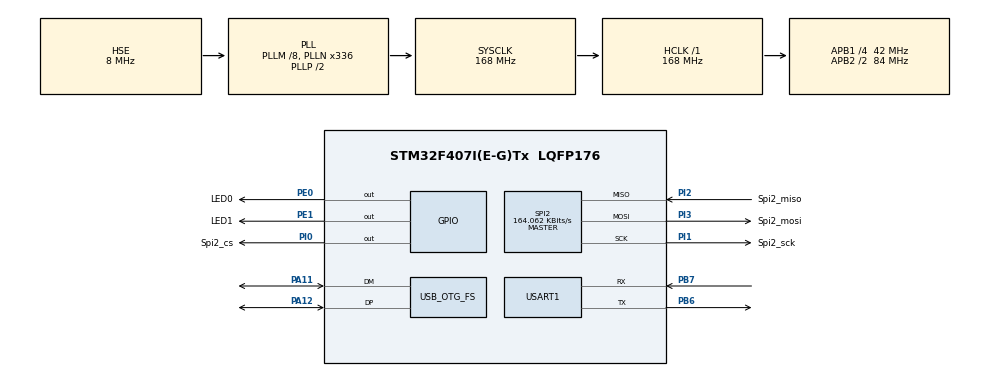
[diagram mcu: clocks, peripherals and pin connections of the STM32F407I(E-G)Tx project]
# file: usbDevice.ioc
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Mcu.Family=STM32F4
Mcu.Name=STM32F407I(E-G)Tx
Mcu.Package=LQFP176
NVIC.PriorityGroup=NVIC_PRIORITYGROUP_4
PA11.Mode=Device_Only
PA11.Signal=USB_OTG_FS_DM
PA12.Mode=Device_Only
PA12.Signal=USB_OTG_FS_DP
PA13.Mode=Serial_Wire
PA13.Signal=SYS_JTMS-SWDIO
PA14.Mode=Serial_Wire
PA14.Signal=SYS_JTCK-SWCLK
PB6.Mode=Asynchronous
PB6.Signal=USART1_TX
PB7.Mode=Asynchronous
PB7.Signal=USART1_RX
PE0.GPIO_Label=LED0
PE0.GPIO_Speed=GPIO_SPEED_FREQ_HIGH
PE0.PinState=GPIO_PIN_SET
PE0.Signal=GPIO_Output
PE1.GPIO_Label=LED1
PE1.GPIO_Speed=GPIO_SPEED_FREQ_HIGH
PE1.PinState=GPIO_PIN_SET
PE1.Signal=GPIO_Output
PH0-OSC_IN.Mode=HSE-External-Oscillator
PH0-OSC_IN.Signal=RCC_OSC_IN
PH1-OSC_OUT.Mode=HSE-External-Oscillator
PH1-OSC_OUT.Signal=RCC_OSC_OUT
PI0.GPIO_Label=Spi2_cs
PI0.GPIO_PuPd=GPIO_PULLUP
PI0.GPIO_Speed=GPIO_SPEED_FREQ_HIGH
PI0.PinState=GPIO_PIN_SET
PI0.Signal=GPIO_Output
PI1.GPIO_Label=Spi2_sck
PI1.GPIO_PuPd=GPIO_PULLUP
PI1.GPIO_Speed=GPIO_SPEED_FREQ_VERY_HIGH
PI1.Mode=Full_Duplex_Master
PI1.Signal=SPI2_SCK
PI2.GPIO_Label=Spi2_miso
PI2.GPIO_PuPd=GPIO_PULLUP
PI2.Mode=Full_Duplex_Master
PI2.Signal=SPI2_MISO
PI3.GPIO_Label=Spi2_mosi
PI3.GPIO_PuPd=GPIO_PULLUP
PI3.Mode=Full_Duplex_Master
PI3.Signal=SPI2_MOSI
ProjectManager.HeapSize=0x200
ProjectManager.StackSize=0x400
ProjectManager.TargetToolchain=MDK-ARM V5
RCC.48MHZClocksFreq_Value=48000000
RCC.AHBFreq_Value=168000000
RCC.APB1CLKDivider=RCC_HCLK_DIV4
RCC.APB1Freq_Value=42000000
RCC.APB1TimFreq_Value=84000000
RCC.APB2CLKDivider=RCC_HCLK_DIV2
RCC.APB2Freq_Value=84000000
RCC.APB2TimFreq_Value=168000000
RCC.CortexFreq_Value=168000000
RCC.HCLKFreq_Value=168000000
RCC.HSE_VALUE=8000000
RCC.HSI_VALUE=16000000
RCC.LSE_VALUE=32768
RCC.PLLM=8
RCC.PLLN=336
RCC.PLLQ=7
RCC.SYSCLKFreq_VALUE=168000000
RCC.SYSCLKSource=RCC_SYSCLKSOURCE_PLLCLK
RCC.VCOOutputFreq_Value=336000000
SPI2.BaudRatePrescaler=SPI_BAUDRATEPRESCALER_256
SPI2.CLKPhase=SPI_PHASE_2EDGE
SPI2.CLKPolarity=SPI_POLARITY_HIGH
SPI2.CalculateBaudRate=164.062 KBits/s
SPI2.Direction=SPI_DIRECTION_2LINES
SPI2.Mode=SPI_MODE_MASTER
SPI2.VirtualType=VM_MASTER
USART1.VirtualMode=VM_ASYNC
USB_OTG_FS.VirtualMode=Device_Only
board=usbDevice

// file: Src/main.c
/**
  ******************************************************************************
  * @file           : main.c
  * @brief          : Main program body
  ******************************************************************************
  ** This notice applies to any and all portions of this file
  * that are not between comment pairs USER CODE BEGIN and
  * USER CODE END. Other portions of this file, whether
  * inserted by the user or by software development tools
  * are owned by their respective copyright owners.
  *
  * COPYRIGHT(c) 2024 STMicroelectronics
  *
  * Redistribution and use in source and binary forms, with or without modification,
  * are permitted provided that the following conditions are met:
  *   1. Redistributions of source code must retain the above copyright notice,
  *      this list of conditions and the following disclaimer.
  *   2. Redistributions in binary form must reproduce the above copyright notice,
  *      this list of conditions and the following disclaimer in the documentation
  *      and/or other materials provided with the distribution.
  *   3. Neither the name of STMicroelectronics nor the names of its contributors
  *      may be used to endorse or promote products derived from this software
  *      without specific prior written permission.
  *
  * THIS SOFTWARE IS PROVIDED BY THE COPYRIGHT HOLDERS AND CONTRIBUTORS "AS IS"
  * AND ANY EXPRESS OR IMPLIED WARRANTIES, INCLUDING, BUT NOT LIMITED TO, THE
  * IMPLIED WARRANTIES OF MERCHANTABILITY AND FITNESS FOR A PARTICULAR PURPOSE ARE
  * DISCLAIMED. IN NO EVENT SHALL THE COPYRIGHT HOLDER OR CONTRIBUTORS BE LIABLE
  * FOR ANY DIRECT, INDIRECT, INCIDENTAL, SPECIAL, EXEMPLARY, OR CONSEQUENTIAL
  * DAMAGES (INCLUDING, BUT NOT LIMITED TO, PROCUREMENT OF SUBSTITUTE GOODS OR
  * SERVICES; LOSS OF USE, DATA, OR PROFITS; OR BUSINESS INTERRUPTION) HOWEVER
  * CAUSED AND ON ANY THEORY OF LIABILITY, WHETHER IN CONTRACT, STRICT LIABILITY,
  * OR TORT (INCLUDING NEGLIGENCE OR OTHERWISE) ARISING IN ANY WAY OUT OF THE USE
  * OF THIS SOFTWARE, EVEN IF ADVISED OF THE POSSIBILITY OF SUCH DAMAGE.
  *
  ******************************************************************************
  */
#include "main.h"
#include "stm32f4xx_hal.h"
#include "spi.h"
#include "usart.h"
#include "usb_otg.h"
#include "gpio.h"

/* USER CODE BEGIN Includes */
#include "norflash.h"  //norflash_init norflash_read_id
#include "malloc.h"  //my_mem_init
#include "usart.h"  //printf fputc
#include "usbd_core.h"  //USBD_Init USBD_RegisterClass USBD_MSC_RegisterStorage USBD_Start
#include "usbd_desc.h"  //MSC_Desc (FS_Desc)
#include "usbd_msc.h"  //USBD_MSC
#include "usbd_storage.h"  //USBD_DISK_fops  (USBD_Storage_Interface_fops_FS)
#include "delay.h"
/* USER CODE END Includes */

/* USER CODE BEGIN PV */
/* Private variables ---------------------------------------------------------*/
uint16_t id;  //norflash id
USBD_HandleTypeDef USBD_Device;             /* USB Device处理结构体 */
extern volatile uint8_t g_usb_state_reg;    /* USB状态 */
extern volatile uint8_t g_device_state;     /* USB连接 情况 */
uint8_t usb_sta;  //usb状态
uint8_t offline_cnt = 0;
uint8_t tct = 0;
uint8_t device_sta;  //设备状态
/* USER CODE END PV */

void SystemClock_Config(void);

/* USER CODE BEGIN PFP */
/* Private function prototypes -----------------------------------------------*/

/* USER CODE END PFP */

int main(void)
{

  /* MCU Configuration----------------------------------------------------------*/

  /* Reset of all peripherals, Initializes the Flash interface and the Systick. */
  HAL_Init();

  /* Configure the system clock */
  SystemClock_Config();

  /* Initialize all configured peripherals */
  MX_GPIO_Init();
  MX_USART1_UART_Init();
  MX_USB_OTG_FS_PCD_Init();
  MX_SPI2_Init();
  /* USER CODE BEGIN 2 */
	delay_init(168);                    /* 延时初始化 */
	norflash_init();                    /* 初始化norflash */
  //my_mem_init(SRAMIN);                /* 初始化内部SRAM内存池 */
  //my_mem_init(SRAMCCM);               /* 初始化内部SRAMCCM内存池 */
	id = norflash_read_id();

	if ((id == 0) || (id == 0xFFFF))
	{
			printf("NorFlash Error!\n");          /* 检测NorFlash错误 */
	}
	else   /* SPI FLASH 正常 */
	{
			printf("norflash id is %d\n", id);
			printf("SPI FLASH Size:12MB\n");
	}
	printf("USB Connecting...\n");            /* 提示正在建立连接 */

	USBD_Init(&USBD_Device, &FS_Desc, DEVICE_FS);       /* 初始化USB */
	USBD_RegisterClass(&USBD_Device, &USBD_MSC);        /* 添加类 */
	USBD_MSC_RegisterStorage(&USBD_Device, &USBD_DISK_fops);    /* 为MSC类添加回调函数 */
	USBD_Start(&USBD_Device);                           /* 开启USB */
	//delay_ms(1800);
  /* USER CODE END 2 */

  /* Infinite loop */
  /* USER CODE BEGIN WHILE */
  while (1)
  {
		delay_ms(1);

		if (usb_sta != g_usb_state_reg)                 /* 状态改变了 */
		{
				if (g_usb_state_reg & 0x01)                 /* 正在写 */
				{
						HAL_GPIO_WritePin(LED1_GPIO_Port, LED1_Pin, GPIO_PIN_RESET);
						printf("USB Writing...\n");   /* 提示USB正在写入数据 */
				}

				if (g_usb_state_reg & 0x02)                 /* 正在读 */
				{
						HAL_GPIO_WritePin(LED1_GPIO_Port, LED1_Pin, GPIO_PIN_RESET);
						printf("USB Reading...\n");   /* 提示USB正在读出数据 */
				}

				if (g_usb_state_reg & 0x04)
				{
						printf("USB Write Err \n");   /* 提示写入错误 */
				}
				else
				{				}
				if (g_usb_state_reg & 0x08)	{
						printf("USB Read  Err \n");   /* 提示读出错误 */
				}
				else{	}
				usb_sta = g_usb_state_reg;  /* 记录最后的状态 */
		}
		if (device_sta != g_device_state){
				if (g_device_state == 1){
						printf("USB Connected    \n");    /* 提示USB连接已经建立 */
				}
				else{
						printf("USB DisConnected \n");    /* 提示USB被拔出了 */
				}
				device_sta = g_device_state;
		}
		tct++;
		if (tct == 200)	{
				tct = 0;
				HAL_GPIO_WritePin(LED1_GPIO_Port, LED1_Pin, GPIO_PIN_SET);
				HAL_GPIO_TogglePin(LED0_GPIO_Port, LED0_Pin);
				if (g_usb_state_reg & 0x10)	{
						offline_cnt = 0;    /* USB连接了,则清除offline计数器 */
						g_device_state = 1;
				}
				else                    /* 没有得到轮询 */
				{
						offline_cnt++;
						if (offline_cnt > 10){
								g_device_state = 0;     /* 2s内没收到在线标记,代表USB被拔出了 */
						}
				}
				g_usb_state_reg = 0;
		}
  /* USER CODE END WHILE */

  }

}

void SystemClock_Config(void)
{

  RCC_OscInitTypeDef RCC_OscInitStruct;
  RCC_ClkInitTypeDef RCC_ClkInitStruct;

    /**Configure the main internal regulator output voltage
    */
  __HAL_RCC_PWR_CLK_ENABLE();

  __HAL_PWR_VOLTAGESCALING_CONFIG(PWR_REGULATOR_VOLTAGE_SCALE1);

    /**Initializes the CPU, AHB and APB busses clocks
    */
  RCC_OscInitStruct.OscillatorType = RCC_OSCILLATORTYPE_HSE;
  RCC_OscInitStruct.HSEState = RCC_HSE_ON;
  RCC_OscInitStruct.PLL.PLLState = RCC_PLL_ON;
  RCC_OscInitStruct.PLL.PLLSource = RCC_PLLSOURCE_HSE;
  RCC_OscInitStruct.PLL.PLLM = 8;
  RCC_OscInitStruct.PLL.PLLN = 336;
  RCC_OscInitStruct.PLL.PLLP = RCC_PLLP_DIV2;
  RCC_OscInitStruct.PLL.PLLQ = 7;
  if (HAL_RCC_OscConfig(&RCC_OscInitStruct) != HAL_OK)
  {
    _Error_Handler(__FILE__, __LINE__);
  }

    /**Initializes the CPU, AHB and APB busses clocks
    */
  RCC_ClkInitStruct.ClockType = RCC_CLOCKTYPE_HCLK|RCC_CLOCKTYPE_SYSCLK
                              |RCC_CLOCKTYPE_PCLK1|RCC_CLOCKTYPE_PCLK2;
  RCC_ClkInitStruct.SYSCLKSource = RCC_SYSCLKSOURCE_PLLCLK;
  RCC_ClkInitStruct.AHBCLKDivider = RCC_SYSCLK_DIV1;
  RCC_ClkInitStruct.APB1CLKDivider = RCC_HCLK_DIV4;
  RCC_ClkInitStruct.APB2CLKDivider = RCC_HCLK_DIV2;

  if (HAL_RCC_ClockConfig(&RCC_ClkInitStruct, FLASH_LATENCY_5) != HAL_OK)
  {
    _Error_Handler(__FILE__, __LINE__);
  }

    /**Configure the Systick interrupt time
    */
  HAL_SYSTICK_Config(HAL_RCC_GetHCLKFreq()/1000);

    /**Configure the Systick
    */
  HAL_SYSTICK_CLKSourceConfig(SYSTICK_CLKSOURCE_HCLK);

  /* SysTick_IRQn interrupt configuration */
  HAL_NVIC_SetPriority(SysTick_IRQn, 0, 0);
}

void _Error_Handler(char *file, int line)
{
  while(1)
  {
  }
}

/************************ (C) COPYRIGHT STMicroelectronics *****END OF FILE****/
